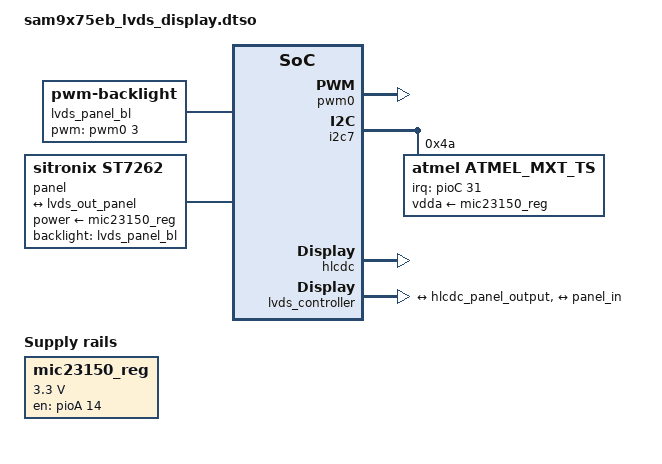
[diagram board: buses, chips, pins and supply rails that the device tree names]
// SPDX-License-Identifier: (GPL-2.0+ OR MIT)
/*
 * Device Tree file for SAM9X75EB board overlay blob
 * for AC69T88A LVDS Display Panel
 *
 * Copyright (C) 2023 Microchip Technology Inc. and its subsidiaries
 * Author:Balakrishnan Sambath <balakrishnan.s@microchip.com>
 *
 */
/dts-v1/;
/plugin/;

#include <dt-bindings/clock/at91.h>
#include <dt-bindings/pinctrl/at91.h>
#include <dt-bindings/gpio/gpio.h>

&{/} {
        mic23150_reg: mic23150_regulator {
               compatible = "regulator-fixed";
               regulator-name = "panel-power-supply";
               regulator-min-microvolt = <3300000>;
               regulator-max-microvolt = <3300000>;
               gpio = <&pioA 14 GPIO_ACTIVE_HIGH>; /* 3v3 ENABLE */
               enable-active-high;
               status = "okay";
        };

	lvds_panel_bl: backlight {
		compatible = "pwm-backlight";
		pwms = <&pwm0 3 1000000 0>;
		pinctrl-names = "default";
		pinctrl-0 = <&pinctrl_pwm>;
		brightness-levels = <0 32 64 128 256 512 1024>;
		default-brightness-level = <6>;
		status="okay";
	};

	panel {
		compatible = "sitronix,st7262", "simple-panel";
		backlight = <&lvds_panel_bl>;
		power-supply = <&mic23150_reg>;
		status="okay";
		#address-cells = <1>;
		#size-cells = <0>;

		port@0 {
			reg = <0>;
			panel_in: endpoint {
				remote-endpoint = <&lvds_out_panel>;
			};
		};
	};
};

&green_led {
      status = "disabled";
};

&pwm0 {
	status = "okay";
};

&i2c7 {
	#address-cells = <1>;
	#size-cells = <0>;
	status = "okay";
	atmel_mxt_ts@4a {
		compatible = "atmel,atmel_mxt_ts";
		reg = <0x4a>;
		interrupt-parent = <&pioC>;
		interrupts = <31 0x8>; /* Mikrobus INT */
		pinctrl-names = "default";
		pinctrl-0 = <&pinctrl_mxt_irq>;
		vdda-supply = <&mic23150_reg>;
		/* reset-gpios = <&pioC 25 GPIO_ACTIVE_LOW>; /* nRST */
		status = "okay";
	};
};

&hlcdc {
	clocks = <&pmc PMC_TYPE_PERIPHERAL 25>, <&pmc PMC_TYPE_CORE PMC_LVDSPLL>, <&clk32k 1>;
	clock-names = "periph_clk", "lvds_pll_clk", "slow_clk";
	status="okay";

	hlcdc-display-controller {
		port@0 {
			#address-cells = <1>;
			#size-cells = <0>;
			hlcdc_panel_output: endpoint@0 {
				reg = <0>;
				remote-endpoint = <&lvds_in_lcdc>;
			};
		};
	};

	hlcdc_pwm: hlcdc-pwm {
		status = "disabled";
	};
};

&lvds_controller {
        status = "okay";

        ports {
                #address-cells = <1>;
                #size-cells = <0>;
                port@0 {
                        reg = <0>;
                        lvds_in_lcdc: endpoint {
                                remote-endpoint = <&hlcdc_panel_output>;
                        };
                };

                port@1 {
                        reg = <1>;
                        lvds_out_panel: endpoint {
                                remote-endpoint = <&panel_in>;
                        };
                };
        };
};


&pinctrl {
        mxt {
                pinctrl_mxt_irq: mxt_irq {
                        atmel,pins = <AT91_PIOC 31 AT91_PERIPH_A AT91_PINCTRL_PULL_UP_DEGLITCH>;
                };
        };

        pwm {
                pinctrl_pwm: pwm_bl {
                        atmel,pins = <AT91_PIOC 21 AT91_PERIPH_C AT91_PINCTRL_NONE>;
                };
        };
};
